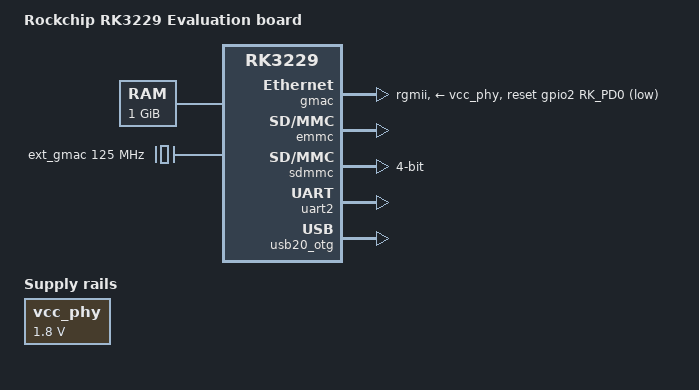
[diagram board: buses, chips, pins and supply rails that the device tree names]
// SPDX-License-Identifier: GPL-2.0+ OR X11
/*
 * (C) Copyright 2017 Rockchip Electronics Co., Ltd.
 */

/dts-v1/;

#include "rk322x.dtsi"

/ {
	model = "Rockchip RK3229 Evaluation board";
	compatible = "rockchip,rk3229-evb", "rockchip,rk3229";

	memory@60000000 {
		device_type = "memory";
		reg = <0x60000000 0x40000000>;
	};

	ext_gmac: ext_gmac {
		compatible = "fixed-clock";
		clock-frequency = <125000000>;
		clock-output-names = "ext_gmac";
		#clock-cells = <0>;
	};

	vcc_phy: vcc-phy-regulator {
		compatible = "regulator-fixed";
		enable-active-high;
		regulator-name = "vcc_phy";
		regulator-min-microvolt = <1800000>;
		regulator-max-microvolt = <1800000>;
		regulator-always-on;
		regulator-boot-on;
	};
};

&gmac {
	assigned-clocks = <&cru SCLK_MAC_EXTCLK>, <&cru SCLK_MAC>;
	assigned-clock-parents = <&ext_gmac>, <&cru SCLK_MAC_EXTCLK>;
	clock_in_out = "input";
	phy-supply = <&vcc_phy>;
	phy-mode = "rgmii";
	pinctrl-names = "default";
	pinctrl-0 = <&rgmii_pins>;
	snps,reset-gpio = <&gpio2 RK_PD0 GPIO_ACTIVE_LOW>;
	snps,reset-active-low;
	snps,reset-delays-us = <0 10000 1000000>;
	tx_delay = <0x30>;
	rx_delay = <0x10>;
	status = "okay";
};

&emmc {
	status = "okay";
};

&sdmmc {
	status = "okay";
	bus-width = <4>;
	cap-mmc-highspeed;
	cap-sd-highspeed;
	card-detect-delay = <200>;
	disable-wp;
	num-slots = <1>;
	supports-sd;
};

&uart2 {
	status = "okay";
};

&usb20_otg {
       status = "okay";
};
